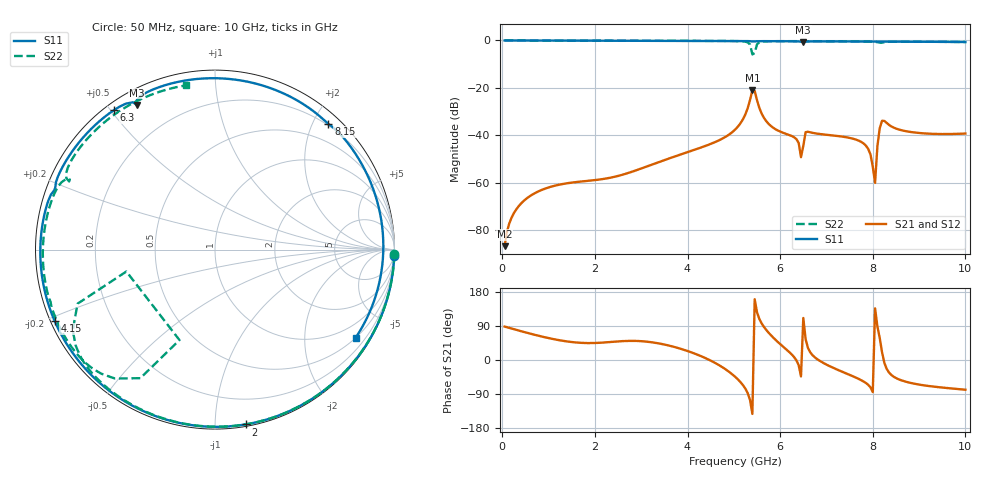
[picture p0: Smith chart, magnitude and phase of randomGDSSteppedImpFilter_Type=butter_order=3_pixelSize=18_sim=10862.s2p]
! freq	dB(S11)	phase(S11)	dB(S12)	phase(S12)
!  dB(S21)	phase(S21)	dB(S22)	phase(S22)
!S-par simulation data
#  GHz  S  DB  R 50
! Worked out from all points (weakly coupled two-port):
!   200 points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, 50 MHz to 10 GHz, reference 50 ohm
!   highest |S21| = -21.03 dB at 5.4 GHz (marker M1); lowest = -86.6 dB at 50 MHz (marker M2)
!   lowest |S11| = -0.8 dB at 6.5 GHz (marker M3), VSWR 22.75, Z = 2.98 + j29.7 ohm
!   |S11| at or under -10 dB: nowhere
!   |S22| runs from -5.9 to 0.0 dB; largest |S21 - S12| = 0
!   S11 on the Smith chart (normalised r, x): 50 MHz: 1, -54; 2 GHz: 0.01, -1.19; 4.15 GHz: 0.01, -0.21; 6.3 GHz: 0.03, +0.51; 8.15 GHz: 0.18, +2.24; 10 GHz: 0.50, -3.41
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0.05  -0.01 -2.1  -86.62 88.2  -86.62 88.2  -0.00 -1.4
0.65  -0.03 -26.9  -64.89 68.0  -64.89 68.0  -0.02 -18.5
1.75  -0.09 -70.6  -59.30 45.0  -59.30 45.0  -0.06 -48.8
2  -0.10 -80.0  -58.80 44.9  -58.80 44.9  -0.07 -55.5
3.4  -0.16 -130.2  -51.09 43.3  -51.09 43.3  -0.12 -91.7
4.15  -0.19 -156.0  -46.04 17.1  -46.04 17.1  -0.15 -110.5
5.05  -0.25 172.6  -37.08 -46.8  -37.08 -46.8  -0.26 -135.3
5.35  -0.32 161.5  -25.02 -105.7  -25.02 -105.7  -1.69 -158.5
5.4  -0.40 159.8  -21.03 -142.3  -21.03 -142.3  -5.87 -166.1
5.45  -0.40 158.8  -21.23 160.4  -21.23 160.4  -5.33 -111.4
5.5  -0.33 157.0  -25.14 126.0  -25.14 126.0  -1.64 -120.1
5.75  -0.30 147.4  -35.10 72.1  -35.10 72.1  -0.34 -140.7
6.3  -0.36 125.8  -40.74 7.8  -40.74 7.8  -0.30 -157.3
6.45  -0.54 119.1  -49.15 -43.4  -49.15 -43.4  -0.32 -161.2
6.5  -0.76 118.4  -44.35 111.0  -44.35 111.0  -0.34 -162.4
6.7  -0.38 110.9  -38.90 12.6  -38.90 12.6  -0.32 -167.4
7.8  -0.45 63.2  -43.36 -56.6  -43.36 -56.6  -0.44 163.9
7.95  -0.47 56.5  -47.94 -72.0  -47.94 -72.0  -0.49 159.6
8.05  -0.49 52.1  -59.96 136.3  -59.96 136.3  -0.59 156.4
8.15  -0.51 48.0  -37.02 58.3  -37.02 58.3  -0.94 154.2
8.35  -0.46 38.8  -35.53 -33.0  -35.53 -33.0  -0.56 151.1
10  -0.68 -32.1  -39.20 -78.5  -39.20 -78.5  -0.64 100.0
